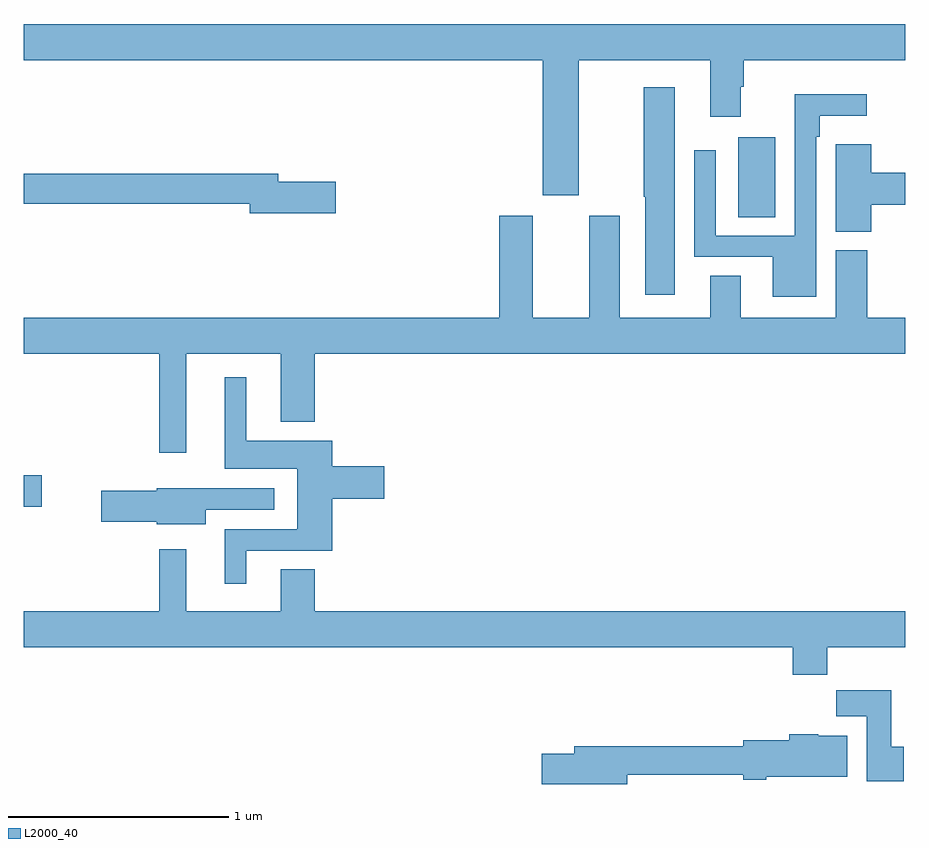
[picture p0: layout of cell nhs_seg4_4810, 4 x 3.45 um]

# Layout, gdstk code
import gdstk
lib = gdstk.Library(unit=1e-6, precision=1e-09)
def R(c, l, rs):  # rectangles x0, y0, x1, y1
    for r in rs: c.add(gdstk.rectangle(r[:2], r[2:], *l))
def P(c, l, *ps):  # polygons
    for p in ps: c.add(gdstk.Polygon(p, *l))
L2000_40 = (2000, 40)

nhs_seg4_4810 = lib.new_cell('nhs_seg4_4810')
R(nhs_seg4_4810, L2000_40, [(371,764.158,371.083,764.3), (374.243,765.472,374.41,765.835)])
P(nhs_seg4_4810, L2000_40, [(373.519,766.184),(374.114,766.184),(374.114,765.927),(374.254,765.927),(374.254,766.064),(374.267,766.064),(374.267,766.184),(375,766.184),(375,766.348),(371,766.348),(371,766.184),(373.355,766.184),(373.355,765.57),(373.519,765.57)],
  [(373.954,766.06),(373.813,766.06),(373.813,765.565),(373.82,765.565),(373.82,765.12),(373.954,765.12)],
  [(374.595,765.836),(374.611,765.836),(374.611,765.932),(374.824,765.932),(374.824,766.03),(374.499,766.03),(374.499,765.387),(374.139,765.387),(374.139,765.775),(374.043,765.775),(374.043,765.291),(374.399,765.291),(374.399,765.11),(374.595,765.11)],
  [(374.846,765.527),(375,765.527),(375,765.674),(374.846,765.674),(374.846,765.802),(374.685,765.802),(374.685,765.689),(374.684,765.689),(374.684,765.406),(374.846,765.406)],
  [(372.415,765.632),(372.154,765.632),(372.154,765.668),(371,765.668),(371,765.532),(372.026,765.532),(372.026,765.49),(372.415,765.49)],
  [(371.737,764.852),(372.167,764.852),(372.167,764.543),(372.32,764.543),(372.32,764.852),(375,764.852),(375,765.016),(374.828,765.016),(374.828,765.321),(374.684,765.321),(374.684,765.016),(374.254,765.016),(374.254,765.206),(374.114,765.206),(374.114,765.016),(373.705,765.016),(373.705,765.478),(373.565,765.478),(373.565,765.016),(373.309,765.016),(373.309,765.478),(373.157,765.478),(373.157,765.016),(371,765.016),(371,764.852),(371.616,764.852),(371.616,764.403),(371.737,764.403)],
  [(372.01,763.959),(372.401,763.959),(372.401,764.195),(372.637,764.195),(372.637,764.342),(372.401,764.342),(372.401,764.458),(372.01,764.458),(372.01,764.746),(371.912,764.746),(371.912,764.33),(372.242,764.33),(372.242,764.055),(371.912,764.055),(371.912,763.809),(372.01,763.809)],
  [(371.827,764.145),(372.136,764.145),(372.136,764.241),(371.823,764.241),(371.823,764.242),(371.604,764.242),(371.604,764.231),(371.352,764.231),(371.352,764.089),(371.604,764.089),(371.604,764.078),(371.827,764.078)],
  [(374.645,763.52),(375,763.52),(375,763.684),(372.32,763.684),(372.32,763.874),(372.167,763.874),(372.167,763.684),(371.737,763.684),(371.737,763.966),(371.616,763.966),(371.616,763.684),(371,763.684),(371,763.52),(374.489,763.52),(374.489,763.396),(374.645,763.396)],
  [(374.992,763.068),(374.935,763.068),(374.935,763.326),(374.686,763.326),(374.686,763.208),(374.825,763.208),(374.825,762.912),(374.992,762.912)],
  [(373.738,762.943),(374.264,762.943),(374.264,762.92),(374.368,762.92),(374.368,762.932),(374.737,762.932),(374.737,763.12),(374.604,763.12),(374.604,763.126),(374.474,763.126),(374.474,763.098),(374.264,763.098),(374.264,763.072),(373.499,763.072),(373.499,763.038),(373.35,763.038),(373.35,762.9),(373.738,762.9)])

lib.write_gds('nhs_seg4_4810.gds')
